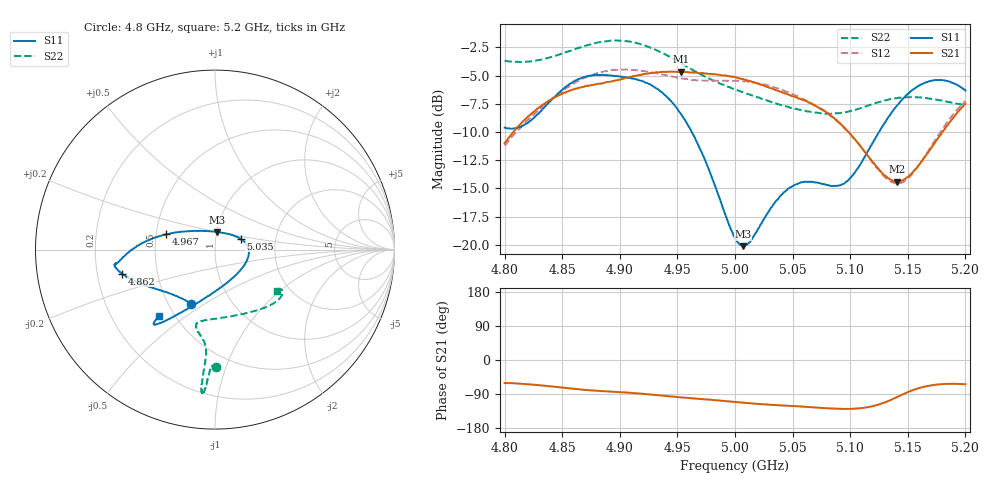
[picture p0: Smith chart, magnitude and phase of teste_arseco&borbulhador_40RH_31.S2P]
! Network Analyzer HP8722D
! Hewlett-Packard
! Data name: Linha & Wilkinson
! Saver's name: Rodrigo Anjos
! Comments: Teste da utilização de aquisição
! continua pelo VNA HP8722D
! Time and date: 15/4/2025 16:36
!  Frequency  S11  S21  S12  S22
# HZ  S  MA R 50
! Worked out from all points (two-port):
!   401 points, 4.8 GHz to 5.2 GHz, reference 50 ohm
!   highest |S21| = -4.64 dB at 4.953 GHz (marker M1); lowest = -14.4 dB at 5.141 GHz (marker M2)
!   |S21| within 3 dB of the highest: 4.832 GHz to 5.069 GHz (237 MHz wide, 4.79 % of centre); 5.198592 GHz to end of sweep
!   lowest |S11| = -20.1 dB at 5.007 GHz (marker M3), VSWR 1.22, Z = 50.1 + j9.92 ohm
!   |S11| at or under -10 dB: 4.962 GHz to 5.125 GHz (162.6 MHz wide, 3.22 % of centre)
!   |S22| runs from -8.4 to -1.9 dB; largest |S21 - S12| = 0.88
!   S11 on the Smith chart (normalised r, x): 4.8 GHz: 0.65, -0.44; 4.862 GHz: 0.31, -0.12; 4.967 GHz: 0.57, +0.10; 5.035 GHz: 1.32, +0.17; 5.2 GHz: 0.41, -0.40
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4.8e9  0.3308 -113.8  0.2812 -60.8  0.2747 -175.0  0.6538 -89.4
4.819e9  0.3448 -133.4  0.3643 -63.7  0.3524 -173.2  0.6489 -91.1
4.862e9  0.536 -165.5  0.4926 -76.5  0.5257 -176.3  0.7403 -93.5
4.867e9  0.5498 -167.4  0.5002 -78.1  0.5419 -177.3  0.7542 -93.6
4.9e9  0.5577 -172.0  0.5398 -84.7  0.5964 175.8  0.8038 -95.0
4.934e9  0.4865 -177.9  0.5812 -93.3  0.5725 172.1  0.7196 -95.5
4.953e9  0.3808 172.5  0.5863 -98.5  0.5466 172.5  0.6392 -95.0
4.967e9  0.285 162.6  0.5793 -101.9  0.5358 174.1  0.5798 -94.9
5e9  0.1075 107.5  0.5537 -110.8  0.5347 176.6  0.4877 -99.2
5.007e9  0.09861 83.8  0.5427 -112.5  0.5305 176.3  0.4739 -100.9
5.014e9  0.1049 61.8  0.5305 -114.6  0.5262 176.1  0.4608 -102.4
5.035e9  0.1551 23.2  0.4849 -118.7  0.4969 175.1  0.4244 -103.9
5.05e9  0.182 7.3  0.4559 -121.5  0.4652 174.5  0.4058 -100.3
5.067e9  0.1898 -10.9  0.4204 -124.7  0.4221 174.1  0.3868 -91.9
5.085e9  0.1823 -39.4  0.3677 -128.2  0.366 173.7  0.3814 -78.5
5.097e9  0.1906 -64.6  0.3218 -129.0  0.3212 174.4  0.3878 -68.6
5.134e9  0.3728 -116.0  0.1958 -107.1  0.1921 -159.8  0.4413 -43.4
5.141e9  0.4162 -119.9  0.1906 -97.3  0.187 -149.0  0.4475 -40.2
5.152e9  0.4759 -124.4  0.2041 -82.3  0.201 -131.5  0.4516 -36.2
5.17e9  0.533 -128.5  0.267 -66.9  0.2719 -113.0  0.4443 -32.0
5.185e9  0.5311 -129.9  0.3418 -63.0  0.3538 -107.0  0.4303 -31.1
5.2e9  0.4829 -130.2  0.4221 -64.0  0.4343 -106.0  0.4155 -33.4
